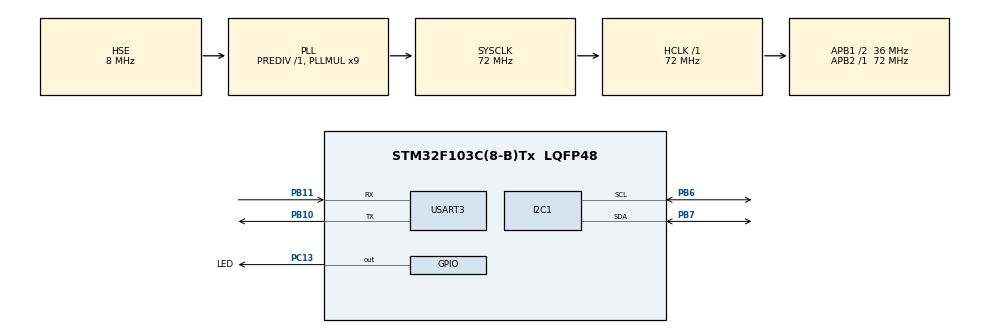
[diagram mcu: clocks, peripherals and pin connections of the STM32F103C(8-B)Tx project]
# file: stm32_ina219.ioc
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FREERTOS.Tasks01=defaultTask,24,256,StartDefaultTask,Default,NULL,Dynamic,NULL,NULL
FREERTOS.configMAX_TASK_NAME_LEN=20
FREERTOS.configUSE_NEWLIB_REENTRANT=1
Mcu.Family=STM32F1
Mcu.Name=STM32F103C(8-B)Tx
Mcu.Package=LQFP48
NVIC.I2C1_EV_IRQn=true\:5\:0\:false\:false\:true\:true\:true\:true\:true
NVIC.PriorityGroup=NVIC_PRIORITYGROUP_4
NVIC.TIM4_IRQn=true\:15\:0\:false\:false\:true\:false\:false\:true\:true
NVIC.TimeBase=TIM4_IRQn
NVIC.TimeBaseIP=TIM4
PA13.Mode=Serial_Wire
PA13.Signal=SYS_JTMS-SWDIO
PA14.Mode=Serial_Wire
PA14.Signal=SYS_JTCK-SWCLK
PB10.Mode=Asynchronous
PB10.Signal=USART3_TX
PB11.Mode=Asynchronous
PB11.Signal=USART3_RX
PB6.Mode=I2C
PB6.Signal=I2C1_SCL
PB7.Mode=I2C
PB7.Signal=I2C1_SDA
PC13-TAMPER-RTC.GPIO_Label=LED
PC13-TAMPER-RTC.Signal=GPIO_Output
PD0-OSC_IN.Mode=HSE-External-Oscillator
PD0-OSC_IN.Signal=RCC_OSC_IN
PD1-OSC_OUT.Mode=HSE-External-Oscillator
PD1-OSC_OUT.Signal=RCC_OSC_OUT
ProjectManager.HeapSize=0x200
ProjectManager.StackSize=0x400
ProjectManager.TargetToolchain=STM32CubeIDE
RCC.AHBFreq_Value=72000000
RCC.APB1CLKDivider=RCC_HCLK_DIV2
RCC.APB1Freq_Value=36000000
RCC.APB1TimFreq_Value=72000000
RCC.APB2Freq_Value=72000000
RCC.APB2TimFreq_Value=72000000
RCC.HCLKFreq_Value=72000000
RCC.PLLMUL=RCC_PLL_MUL9
RCC.PLLSourceVirtual=RCC_PLLSOURCE_HSE
RCC.SYSCLKFreq_VALUE=72000000
RCC.SYSCLKSource=RCC_SYSCLKSOURCE_PLLCLK
RCC.USBFreq_Value=72000000
USART3.VirtualMode=VM_ASYNC
VP_FREERTOS_VS_CMSIS_V2.Mode=CMSIS_V2
VP_SYS_VS_tim4.Mode=TIM4
board=custom

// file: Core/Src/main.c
/* USER CODE BEGIN Header */
/**
  ******************************************************************************
  * @file           : main.c
  * @brief          : Main program body
  ******************************************************************************
  * @attention
  *
  * Copyright (c) 2022 STMicroelectronics.
  * All rights reserved.
  *
  * This software is licensed under terms that can be found in the LICENSE file
  * in the root directory of this software component.
  * If no LICENSE file comes with this software, it is provided AS-IS.
  *
  ******************************************************************************
  */
/* USER CODE END Header */
#include "main.h"
#include "cmsis_os.h"

/* USER CODE BEGIN Includes */
#include <string.h> // strcpy strlen
#include <stdio.h> // sprintf
#include "INA219.h"
/* USER CODE END Includes */

/* USER CODE BEGIN PD */
#define INA219_1_ADDRESS 0x40 // No bridge
#define INA219_2_ADDRESS 0x41 // Bridge in A0
#define INA219_3_ADDRESS 0x44 // Bridge in A1
#define INA219_4_ADDRESS 0x45 // Bridge in A0 and A1
/* USER CODE END PD */

 I2C_HandleTypeDef hi2c1;

UART_HandleTypeDef huart3;

/* Definitions for defaultTask */
osThreadId_t defaultTaskHandle;
const osThreadAttr_t defaultTask_attributes = {
  .name = "defaultTask",
  .stack_size = 256 * 4,
  .priority = (osPriority_t) osPriorityNormal,
};
/* USER CODE BEGIN PV */

//static const uint8_t INA219_ADDR = 0x40 << 1;// Uso address de 8 bit
//static const uint8_t REG_CURRENT = 0X04;
//static const uint8_t REG_CONFIG = 0x00;

INA219_t ina219;

uint16_t current;
/* USER CODE END PV */

void SystemClock_Config(void);
static void MX_GPIO_Init(void);
static void MX_I2C1_Init(void);
static void MX_USART3_UART_Init(void);
void StartDefaultTask(void *argument);

int main(void)
{

  /* MCU Configuration--------------------------------------------------------*/

  /* Reset of all peripherals, Initializes the Flash interface and the Systick. */
  HAL_Init();

  /* Configure the system clock */
  SystemClock_Config();

  /* Initialize all configured peripherals */
  MX_GPIO_Init();
  MX_I2C1_Init();
  MX_USART3_UART_Init();

  /* Init scheduler */
  osKernelInitialize();

  /* Create the thread(s) */
  /* creation of defaultTask */
  defaultTaskHandle = osThreadNew(StartDefaultTask, NULL, &defaultTask_attributes);

  /* Start scheduler */
  osKernelStart();

  /* We should never get here as control is now taken by the scheduler */
  /* Infinite loop */
  while (1)
  {

  }
}

void SystemClock_Config(void)
{
  RCC_OscInitTypeDef RCC_OscInitStruct = {0};
  RCC_ClkInitTypeDef RCC_ClkInitStruct = {0};

  /** Initializes the RCC Oscillators according to the specified parameters
  * in the RCC_OscInitTypeDef structure.
  */
  RCC_OscInitStruct.OscillatorType = RCC_OSCILLATORTYPE_HSE;
  RCC_OscInitStruct.HSEState = RCC_HSE_ON;
  RCC_OscInitStruct.HSEPredivValue = RCC_HSE_PREDIV_DIV1;
  RCC_OscInitStruct.HSIState = RCC_HSI_ON;
  RCC_OscInitStruct.PLL.PLLState = RCC_PLL_ON;
  RCC_OscInitStruct.PLL.PLLSource = RCC_PLLSOURCE_HSE;
  RCC_OscInitStruct.PLL.PLLMUL = RCC_PLL_MUL9;
  if (HAL_RCC_OscConfig(&RCC_OscInitStruct) != HAL_OK)
  {
    Error_Handler();
  }

  /** Initializes the CPU, AHB and APB buses clocks
  */
  RCC_ClkInitStruct.ClockType = RCC_CLOCKTYPE_HCLK|RCC_CLOCKTYPE_SYSCLK
                              |RCC_CLOCKTYPE_PCLK1|RCC_CLOCKTYPE_PCLK2;
  RCC_ClkInitStruct.SYSCLKSource = RCC_SYSCLKSOURCE_PLLCLK;
  RCC_ClkInitStruct.AHBCLKDivider = RCC_SYSCLK_DIV1;
  RCC_ClkInitStruct.APB1CLKDivider = RCC_HCLK_DIV2;
  RCC_ClkInitStruct.APB2CLKDivider = RCC_HCLK_DIV1;

  if (HAL_RCC_ClockConfig(&RCC_ClkInitStruct, FLASH_LATENCY_2) != HAL_OK)
  {
    Error_Handler();
  }
}

static void MX_I2C1_Init(void)
{

  hi2c1.Instance = I2C1;
  hi2c1.Init.ClockSpeed = 100000;
  hi2c1.Init.DutyCycle = I2C_DUTYCYCLE_2;
  hi2c1.Init.OwnAddress1 = 0;
  hi2c1.Init.AddressingMode = I2C_ADDRESSINGMODE_7BIT;
  hi2c1.Init.DualAddressMode = I2C_DUALADDRESS_DISABLE;
  hi2c1.Init.OwnAddress2 = 0;
  hi2c1.Init.GeneralCallMode = I2C_GENERALCALL_DISABLE;
  hi2c1.Init.NoStretchMode = I2C_NOSTRETCH_DISABLE;
  if (HAL_I2C_Init(&hi2c1) != HAL_OK)
  {
    Error_Handler();
  }

}

static void MX_USART3_UART_Init(void)
{

  huart3.Instance = USART3;
  huart3.Init.BaudRate = 115200;
  huart3.Init.WordLength = UART_WORDLENGTH_8B;
  huart3.Init.StopBits = UART_STOPBITS_1;
  huart3.Init.Parity = UART_PARITY_NONE;
  huart3.Init.Mode = UART_MODE_TX_RX;
  huart3.Init.HwFlowCtl = UART_HWCONTROL_NONE;
  huart3.Init.OverSampling = UART_OVERSAMPLING_16;
  if (HAL_UART_Init(&huart3) != HAL_OK)
  {
    Error_Handler();
  }

}

static void MX_GPIO_Init(void)
{
  GPIO_InitTypeDef GPIO_InitStruct = {0};

  /* GPIO Ports Clock Enable */
  __HAL_RCC_GPIOC_CLK_ENABLE();
  __HAL_RCC_GPIOD_CLK_ENABLE();
  __HAL_RCC_GPIOB_CLK_ENABLE();
  __HAL_RCC_GPIOA_CLK_ENABLE();

  /*Configure GPIO pin Output Level */
  HAL_GPIO_WritePin(LED_GPIO_Port, LED_Pin, GPIO_PIN_RESET);

  /*Configure GPIO pin : LED_Pin */
  GPIO_InitStruct.Pin = LED_Pin;
  GPIO_InitStruct.Mode = GPIO_MODE_OUTPUT_PP;
  GPIO_InitStruct.Pull = GPIO_NOPULL;
  GPIO_InitStruct.Speed = GPIO_SPEED_FREQ_LOW;
  HAL_GPIO_Init(LED_GPIO_Port, &GPIO_InitStruct);

}

void StartDefaultTask(void *argument)
{
  /* USER CODE BEGIN 5 */
  /* Infinite loop */
//	HAL_StatusTypeDef ret; // status return value
	uint8_t buf[32];
//	uint16_t val;
	uint16_t rawCurrent = 0;
	float current = 0;
	while(!INA219_Init(&ina219, &hi2c1, INA219_2_ADDRESS));
		  // inicializo el ina

  for(;;)
  {
	    rawCurrent = INA219_ReadCurrent_raw(&ina219); // mA?
	    if(rawCurrent > 32767){
	    	//hago complemento a 2
	    	uint16_t complementCurrent = (0xFFFF - rawCurrent)+1;
	    	current = - complementCurrent / 10.0;

	    } else {
	    	current = rawCurrent/10.0; // mA
	    }
	    sprintf((char*)buf,"%u o %.2f mA\r\n",(unsigned int)rawCurrent,current);
	    HAL_UART_Transmit(&huart3, buf, strlen((char*)buf), 1000);
	    HAL_GPIO_TogglePin(LED_GPIO_Port, LED_Pin);

	    osDelay(500);

  }
  /* USER CODE END 5 */
}

void HAL_TIM_PeriodElapsedCallback(TIM_HandleTypeDef *htim)
{
  if (htim->Instance == TIM4) {
    HAL_IncTick();
  }
}

void Error_Handler(void)
{
  __disable_irq();
  while (1)
  {
  }
}
